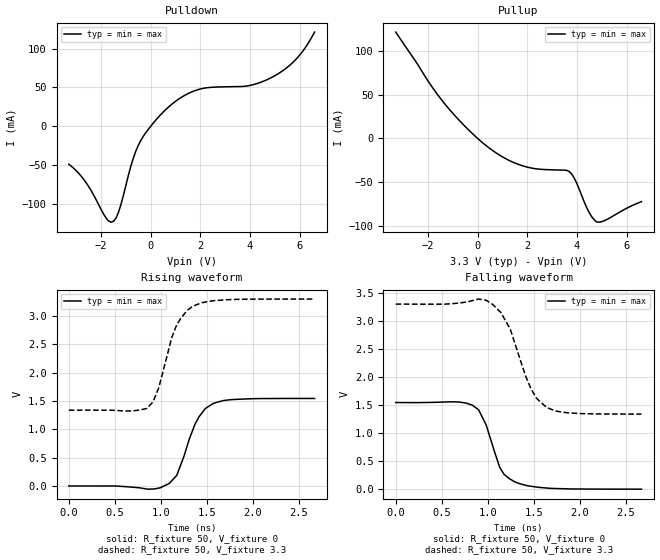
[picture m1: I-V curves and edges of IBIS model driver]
| IBIS file ex2_fast_5ps_tr5ps.ibs created by PYS2IBIS3
| Missouri S&T EMC Lab
[IBIS Ver] 7.1
[File Name] ex2_fast_5ps_tr5ps.ibs
[File Rev] 1.0
[Date] July 28, 2026
[Source] ex2 buffer.sp characterized with s2ibispy and HSPICE
[Notes] Parameter selection; sim_time=2.673e-09, tr=tf=5.000e-12.
[Disclaimer] Experimental characterization for pybis observability study.
[Component] MCM Driver 1
[Manufacturer] MegaFLOPS Inc.
[Package]
| variable   typ   min   max
R_pkg 0 NA NA
L_pkg 0H NA NA
C_pkg 0F NA NA
[Pin]  signal_name   model_name   R_pin   L_pin   C_pin
vdd   vdd   POWER
gnd   gnd   GND
| in in dummy
out   out   driver
| End of Component
| Models and submodels in the file (1): driver (Output)
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[Model] driver
Model_type Output
Polarity Non-Inverting
Enable Active-Low
Vinl  = 0.8V
Vinh  = 2V
C_comp 5.0000pF 5.0000pF 5.0000pF
[Temperature Range] 27.0000 27.0000 27.0000
[Voltage Range] 3.3000V 3.3000V 3.3000V
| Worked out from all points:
|   slope of the pulldown table from 0 to 0.495 V, typ, clamps not added: 27.4 ohm
|   slope of the pullup table from 0 to 0.495 V, typ, clamps not added: 42.7 ohm
|   rising waveform, R_fixture 50, V_fixture 0: 20-80 % time 220ps typ, 220ps min, 220ps max; typ from 0 V to 1.54 V
|   rising waveform, R_fixture 50, V_fixture 3.3: 20-80 % time 220ps typ, 220ps min, 220ps max; typ from 1.34 V to 3.3 V
|   falling waveform, R_fixture 50, V_fixture 0: 20-80 % time 205ps typ, 205ps min, 205ps max; typ from 1.54 V to 0 V
|   falling waveform, R_fixture 50, V_fixture 3.3: 20-80 % time 265ps typ, 265ps min, 265ps max; typ from 3.3 V to 1.34 V
[Pulldown]
| Voltage   I(typ)   I(min)   I(max)
-3.3V     -48.93mA   -48.93mA   -48.93mA
-2.6V     -72.86mA   -72.86mA   -72.86mA
-1.8V     -118.2mA   -118.2mA   -118.2mA
-1.5V     -122.5mA   -122.5mA   -122.5mA
-1.3V     -110.9mA   -110.9mA   -110.9mA
-500mV    -24.59mA   -24.59mA   -24.59mA
600mV     21.34mA    21.34mA    21.34mA
1.9V      47.12mA    47.12mA    47.12mA
3.9V      51.99mA    51.99mA    51.99mA
4.9V      63.38mA    63.38mA    63.38mA
5.9V      87.99mA    87.99mA    87.99mA
6.6V      121.3mA    121.3mA    121.3mA
[Pullup]
| Voltage   I(typ)   I(min)   I(max)
-3.3V     122mA      122mA      122mA
-1.9V     61.75mA    61.75mA    61.75mA
-1.3V     38.86mA    38.86mA    38.86mA
-200mV    5.278mA    5.278mA    5.278mA
700mV     -15.75mA   -15.75mA   -15.75mA
2V        -32.92mA   -32.92mA   -32.92mA
3.7V      -38.24mA   -38.24mA   -38.24mA
3.9V      -45.89mA   -45.89mA   -45.89mA
4.5V      -85.43mA   -85.43mA   -85.43mA
4.8V      -95.97mA   -95.97mA   -95.97mA
5.1V      -94.48mA   -94.48mA   -94.48mA
6.6V      -72.53mA   -72.53mA   -72.53mA
[Ramp]
| variable   typ   min   max
dV/dt_r 0.9270/0.2195n 0.9270/0.2195n 0.9270/0.2195n
dV/dt_f 1.1766/0.2652n 1.1766/0.2652n 1.1766/0.2652n
R_load = 50
[Rising Waveform]
R_fixture = 50
V_fixture = 0
|time   V(typ)   V(min)   V(max)
0s        7.302nV    7.302nV    7.302nV
853.4ps   -56.61mV   -56.61mV   -56.61mV
992.5ps   -33.73mV   -33.73mV   -33.73mV
1.092ns   43.8mV     43.8mV     43.8mV
1.175ns   189.9mV    189.9mV    189.9mV
1.372ns   1.091V     1.091V     1.091V
1.482ns   1.363V     1.363V     1.363V
1.57ns    1.457V     1.457V     1.457V
1.806ns   1.53V      1.53V      1.53V
2.673ns   1.545V     1.545V     1.545V
[Rising Waveform]
R_fixture = 50
V_fixture = 3.3
|time   V(typ)   V(min)   V(max)
0s        1.338V     1.338V     1.338V
848.1ps   1.37V      1.37V      1.37V
915ps     1.483V     1.483V     1.483V
976.5ps   1.728V     1.728V     1.728V
1.118ns   2.616V     2.616V     2.616V
1.166ns   2.818V     2.818V     2.818V
1.284ns   3.094V     3.094V     3.094V
1.346ns   3.171V     3.171V     3.171V
1.64ns    3.282V     3.282V     3.282V
2.673ns   3.3V       3.3V       3.3V
[Falling Waveform]
R_fixture = 50
V_fixture = 0
|time   V(typ)   V(min)   V(max)
0s        1.545V     1.545V     1.545V
684.9ps   1.555V     1.555V     1.555V
832ps     1.499V     1.499V     1.499V
901.6ps   1.416V     1.416V     1.416V
981.8ps   1.153V     1.153V     1.153V
1.129ns   394.7mV    394.7mV    394.7mV
1.22ns    206.2mV    206.2mV    206.2mV
1.34ns    101mV      101mV      101mV
1.667ns   15.24mV    15.24mV    15.24mV
2.673ns   78.21uV    78.21uV    78.21uV
[Falling Waveform]
R_fixture = 50
V_fixture = 3.3
|time   V(typ)   V(min)   V(max)
0s        3.3V       3.3V       3.3V
535.1ps   3.299V     3.299V     3.299V
984.5ps   3.367V     3.367V     3.367V
1.142ns   3.152V     3.152V     3.152V
1.228ns   2.905V     2.905V     2.905V
1.466ns   1.808V     1.808V     1.808V
1.53ns    1.623V     1.623V     1.623V
1.637ns   1.461V     1.461V     1.461V
1.905ns   1.357V     1.357V     1.357V
2.673ns   1.339V     1.339V     1.339V
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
